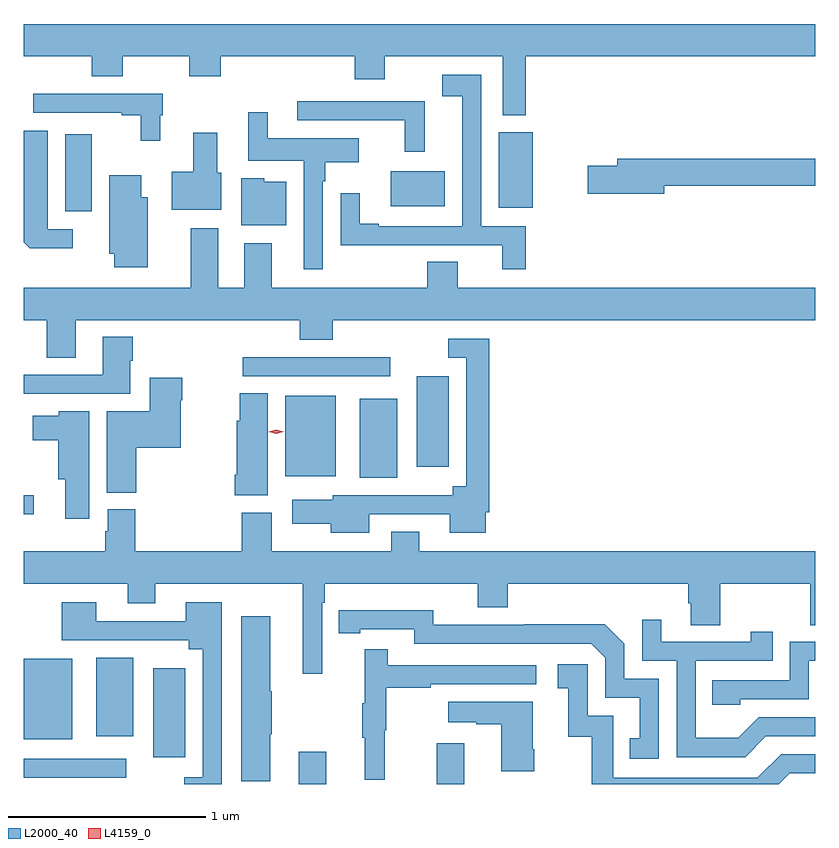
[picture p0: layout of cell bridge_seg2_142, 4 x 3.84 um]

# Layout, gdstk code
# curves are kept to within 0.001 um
import gdstk
lib = gdstk.Library(unit=1e-6, precision=1e-09)
def R(c, l, rs):  # rectangles x0, y0, x1, y1
    for r in rs: c.add(gdstk.rectangle(r[:2], r[2:], *l))
def P(c, l, *ps):  # polygons
    for p in ps: c.add(gdstk.Polygon(p, *l))
L2000_40 = (2000, 40)
L4159_0 = (4159, 0)

bridge_seg2_142 = lib.new_cell('bridge_seg2_142')
R(bridge_seg2_142, L2000_40, [(257.117,654.617,257.257,654.781), (257.813,654.617,257.953,654.823), (255.727,654.648,256.246,654.744), (256.382,654.753,256.543,655.201), (255.727,654.842,255.973,655.249), (256.094,654.857,256.282,655.255), (255.727,655.979,255.778,656.076), (257.426,656.165,257.614,656.563), (257.048,656.171,257.305,656.578), (257.714,656.22,257.875,656.677), (256.833,656.676,257.578,656.772), (255.938,657.51,256.072,657.898), (258.128,657.528,258.298,657.91), (257.582,657.536,257.854,657.712)])
P(bridge_seg2_142, L2000_40, [(258.263,658.292),(259.727,658.292),(259.727,658.456),(255.727,658.456),(255.727,658.292),(256.072,658.292),(256.072,658.193),(256.227,658.193),(256.227,658.292),(256.564,658.292),(256.564,658.193),(256.724,658.193),(256.724,658.292),(257.399,658.292),(257.399,658.178),(257.551,658.178),(257.551,658.292),(258.147,658.292),(258.147,657.995),(258.263,657.995)],
  [(258.263,657.435),(258.039,657.435),(258.039,658.2),(257.841,658.2),(257.841,658.092),(257.942,658.092),(257.942,657.808),(257.943,657.808),(257.943,657.435),(257.521,657.435),(257.521,657.448),(257.425,657.448),(257.425,657.601),(257.328,657.601),(257.328,657.338),(257.684,657.338),(257.684,657.339),(257.946,657.339),(257.946,657.338),(258.145,657.338),(258.145,657.216),(258.263,657.216)],
  [(256.417,657.994),(256.429,657.994),(256.429,658.104),(255.777,658.104),(255.777,658.008),(256.223,658.008),(256.223,657.996),(256.318,657.996),(256.318,657.867),(256.417,657.867)],
  [(257.753,658.065),(257.109,658.065),(257.109,657.969),(257.653,657.969),(257.653,657.81),(257.753,657.81)],
  [(257.238,657.662),(257.251,657.662),(257.251,657.758),(257.419,657.758),(257.419,657.88),(256.96,657.88),(256.96,658.009),(256.862,658.009),(256.862,657.764),(257.142,657.764),(257.142,657.216),(257.238,657.216)],
  [(255.976,657.42),(255.85,657.42),(255.85,657.918),(255.727,657.918),(255.727,657.353),(255.758,657.323),(255.976,657.323)],
  [(256.726,657.705),(256.705,657.705),(256.705,657.907),(256.583,657.907),(256.583,657.709),(256.475,657.709),(256.475,657.518),(256.726,657.518)],
  [(258.964,657.64),(259.727,657.64),(259.727,657.776),(258.725,657.776),(258.725,657.74),(258.576,657.74),(258.576,657.598),(258.964,657.598)],
  [(256.354,657.58),(256.321,657.58),(256.321,657.691),(256.16,657.691),(256.16,657.296),(256.184,657.296),(256.184,657.228),(256.354,657.228)],
  [(257.053,657.658),(256.944,657.658),(256.944,657.676),(256.826,657.676),(256.826,657.44),(257.053,657.44)],
  [(256.981,657.349),(256.841,657.349),(256.841,657.124),(256.711,657.124),(256.711,657.424),(256.571,657.424),(256.571,657.124),(255.727,657.124),(255.727,656.96),(255.844,656.96),(255.844,656.77),(255.991,656.77),(255.991,656.96),(257.123,656.96),(257.123,656.861),(257.288,656.861),(257.288,656.96),(259.727,656.96),(259.727,657.124),(257.92,657.124),(257.92,657.254),(257.767,657.254),(257.767,657.124),(256.981,657.124)],
  [(256.267,656.755),(256.279,656.755),(256.279,656.875),(256.127,656.875),(256.127,656.685),(255.727,656.685),(255.727,656.589),(256.267,656.589)],
  [(257.473,655.98),(257.879,655.98),(257.879,655.886),(258.061,655.886),(258.061,655.99),(258.08,655.99),(258.08,656.865),(257.871,656.865),(257.871,656.769),(257.964,656.769),(257.964,656.122),(257.894,656.122),(257.894,656.076),(257.289,656.076),(257.289,656.053),(257.085,656.053),(257.085,655.931),(257.278,655.931),(257.278,655.886),(257.473,655.886)],
  [(256.295,656.315),(256.522,656.315),(256.522,656.555),(256.529,656.555),(256.529,656.668),(256.364,656.668),(256.364,656.5),(256.148,656.5),(256.148,656.089),(256.295,656.089)],
  [(256.96,656.591),(256.819,656.591),(256.819,656.451),(256.805,656.451),(256.805,656.179),(256.793,656.179),(256.793,656.075),(256.96,656.075)],
  [(256.06,656.5),(255.906,656.5),(255.906,656.476),(255.773,656.476),(255.773,656.354),(255.902,656.354),(255.902,656.156),(255.938,656.156),(255.938,655.956),(256.06,655.956)],
  [(257.235,655.532),(257.249,655.532),(257.249,655.628),(258.02,655.628),(258.02,655.511),(258.173,655.511),(258.173,655.628),(259.085,655.628),(259.085,655.53),(259.097,655.53),(259.097,655.42),(259.245,655.42),(259.245,655.628),(259.702,655.628),(259.702,655.42),(259.727,655.42),(259.727,655.792),(257.725,655.792),(257.725,655.891),(257.585,655.891),(257.585,655.792),(256.981,655.792),(256.981,655.987),(256.829,655.987),(256.829,655.792),(256.291,655.792),(256.291,656.004),(256.151,656.004),(256.151,655.893),(256.139,655.893),(256.139,655.792),(255.727,655.792),(255.727,655.628),(256.253,655.628),(256.253,655.529),(256.393,655.529),(256.393,655.628),(257.138,655.628),(257.138,655.173),(257.235,655.173)],
  [(256.728,655.534),(256.547,655.534),(256.547,655.44),(256.093,655.44),(256.093,655.534),(255.92,655.534),(255.92,655.344),(256.562,655.344),(256.562,655.298),(256.632,655.298),(256.632,654.651),(256.539,654.651),(256.539,654.617),(256.728,654.617)],
  [(258.936,655.149),(258.762,655.149),(258.762,655.326),(258.664,655.424),(258.256,655.424),(258.256,655.422),(257.796,655.422),(257.796,655.495),(257.32,655.494),(257.32,655.378),(257.428,655.378),(257.428,655.398),(257.7,655.398),(257.7,655.326),(258.594,655.326),(258.666,655.254),(258.666,655.053),(258.839,655.053),(258.839,654.849),(258.79,654.849),(258.79,654.744),(258.936,654.744)],
  [(256.972,654.868),(256.98,654.868),(256.98,655.085),(256.972,655.085),(256.972,655.465),(256.826,655.465),(256.826,654.63),(256.972,654.63)],
  [(259.477,654.858),(259.727,654.858),(259.727,654.954),(259.44,654.954),(259.336,654.85),(259.122,654.85),(259.122,655.239),(259.511,655.239),(259.511,655.387),(259.4,655.387),(259.4,655.335),(258.949,655.335),(258.949,655.447),(258.852,655.447),(258.852,655.239),(259.026,655.239),(259.026,654.753),(259.372,654.753)],
  [(259.347,655.044),(259.692,655.044),(259.692,655.239),(259.727,655.239),(259.727,655.335),(259.596,655.335),(259.596,655.14),(259.207,655.14),(259.207,655.017),(259.347,655.017)],
  [(257.552,654.888),(257.56,654.888),(257.56,655.102),(257.783,655.102),(257.783,655.122),(258.316,655.122),(258.316,655.218),(257.567,655.218),(257.567,655.297),(257.45,655.297),(257.45,655.025),(257.439,655.025),(257.439,654.851),(257.45,654.851),(257.45,654.639),(257.552,654.639)],
  [(259.596,654.672),(259.727,654.672),(259.727,654.768),(259.554,654.768),(259.434,654.648),(258.705,654.648),(258.705,654.963),(258.576,654.963),(258.576,655.222),(258.426,655.222),(258.426,655.101),(258.479,655.101),(258.479,654.855),(258.597,654.855),(258.597,654.617),(259.541,654.617)],
  [(258.306,654.793),(258.298,654.793),(258.298,655.033),(257.871,655.033),(257.871,654.929),(258.014,654.929),(258.014,654.919),(258.14,654.919),(258.14,654.681),(258.306,654.681)])
P(bridge_seg2_142, L4159_0, [(257.003,656.387),(256.965,656.397),(256.965,656.397),(256.965,656.397),(257.003,656.407),(257.041,656.397),(257.041,656.397),(257.041,656.396)])

lib.write_gds('bridge_seg2_142.gds')
